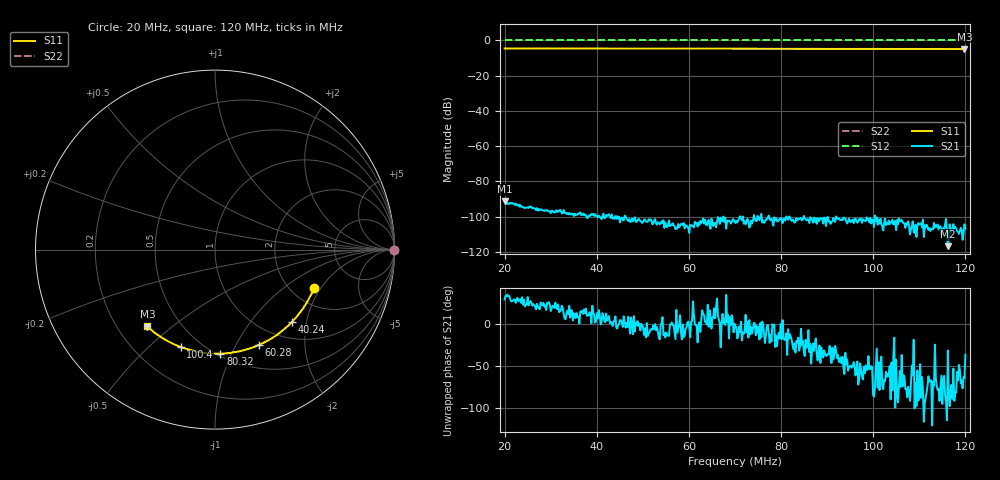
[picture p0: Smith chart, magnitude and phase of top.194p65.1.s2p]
! Anritsu VNA Master:  Model: MS2036C/10/77
! SN:  1601066
! /bd0/18may08.cable.cal/top.194p65.1.s2p
! Existing Calibration Information:
! TYPE:  Current Settings,  Active Cal Settings
! TIME:  05/08/2018 03:53:55 PM,  05/08/2018 03:47:05 PM
! INTERNAL TEMP:  50.5 C,  50.5 C
! # POINTS:  500,  500
! START FREQ:  20.000 MHz,  20.000 MHz
! STOP FREQ:  120.000 MHz,  120.000 MHz
! SOURCE POWER:  High,  High
! IFBW:  50 Hz,  50 Hz
! AVG FACTOR:  1 ,  1
! REF PLANE 1:  0 mm,  0 mm
! REF PLANE 2:  0 mm,  0 mm
! CAL TYPE:  Full S11,  Full S11
! CAL METHOD:  SOLT,  SOLT
! CAL LINE TYPE:  Coax,  Coax
! DUT PORT 1:  K-Conn(F),  K-Conn(F)
! DUT PORT 2:  K-Conn(F),  K-Conn(F)
! CAL STATUS:  OK: Accuracy High,  --
# GHZ S DB R 50.0
! FREQ.GHZ  S11DB  S11A  S21DB  S21A  S12DB  S12A  S22DB  S22A
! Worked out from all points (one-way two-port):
!   500 points, 20 MHz to 120 MHz, reference 50 ohm
!   highest |S21| = -91.34 dB at 20 MHz (marker M1); lowest = -116.8 dB at 116.2 MHz (marker M2)
!   lowest |S11| = -4.9 dB at 119.8 MHz (marker M3), VSWR 3.66, Z = 16.2 - j20.7 ohm
!   |S11| at or under -10 dB: nowhere
!   |S22| runs from 0.0 to 0.0 dB; largest |S21 - S12| = 1
!   S11 on the Smith chart (normalised r, x): 20 MHz: 2.63, -1.74; 40.24 MHz: 1.34, -1.65; 60.28 MHz: 0.78, -1.25; 80.32 MHz: 0.52, -0.91; 100.4 MHz: 0.39, -0.63; 120 MHz: 0.32, -0.41
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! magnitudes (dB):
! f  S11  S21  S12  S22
! 20 MHz  -4.5  -91.3  0.0  0.0
! 30.62 MHz  -4.6  -97.5  0.0  0.0
! 31.62 MHz  -4.6  -97.2  0.0  0.0
! 36.83 MHz  -4.6  -99.0  0.0  0.0
! 40.24 MHz  -4.6  -100.4  0.0  0.0
! 53.47 MHz  -4.6  -103.5  0.0  0.0
! 56.67 MHz  -4.6  -105.0  0.0  0.0
! 60.28 MHz  -4.7  -104.7  0.0  0.0
! 61.88 MHz  -4.7  -105.7  0.0  0.0
! 62.89 MHz  -4.7  -103.2  0.0  0.0
! 65.29 MHz  -4.7  -105.4  0.0  0.0
! 70.1 MHz  -4.7  -103.7  0.0  0.0
! 80.32 MHz  -4.7  -103.8  0.0  0.0
! 86.73 MHz  -4.7  -101.9  0.0  0.0
! 93.35 MHz  -4.8  -102.1  0.0  0.0
! 99.36 MHz  -4.8  -100.8  0.0  0.0
! 100.4 MHz  -4.8  -99.4  0.0  0.0
! 103.4 MHz  -4.8  -102.3  0.0  0.0
! 107.8 MHz  -4.8  -105.2  0.0  0.0
! 116.2 MHz  -4.9  -116.8  0.0  0.0
! 119.8 MHz  -4.9  -104.4  0.0  0.0
! 120 MHz  -4.9  -106.7  0.0  0.0
